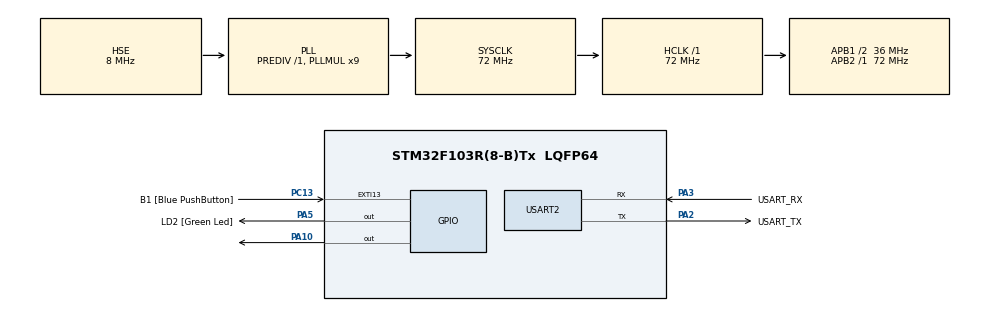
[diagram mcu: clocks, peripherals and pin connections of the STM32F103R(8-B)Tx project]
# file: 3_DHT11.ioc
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Mcu.Family=STM32F1
Mcu.Name=STM32F103R(8-B)Tx
Mcu.Package=LQFP64
NVIC.EXTI15_10_IRQn=true\:0\:0\:false\:false\:true\:true\:true
NVIC.PriorityGroup=NVIC_PRIORITYGROUP_4
PA10.PinState=GPIO_PIN_SET
PA10.Signal=GPIO_Output
PA13.GPIO_Label=TMS
PA13.Mode=Serial_Wire
PA13.Signal=SYS_JTMS-SWDIO
PA14.GPIO_Label=TCK
PA14.Mode=Serial_Wire
PA14.Signal=SYS_JTCK-SWCLK
PA2.GPIO_Label=USART_TX
PA2.GPIO_Mode=GPIO_MODE_AF_PP
PA2.GPIO_PuPd=GPIO_NOPULL
PA2.GPIO_Speed=GPIO_SPEED_FREQ_LOW
PA2.Mode=Asynchronous
PA2.Signal=USART2_TX
PA3.GPIO_Label=USART_RX
PA3.GPIO_Mode=GPIO_MODE_AF_PP
PA3.GPIO_PuPd=GPIO_NOPULL
PA3.GPIO_Speed=GPIO_SPEED_FREQ_LOW
PA3.Mode=Asynchronous
PA3.Signal=USART2_RX
PA5.GPIO_Label=LD2 [Green Led]
PA5.GPIO_ModeDefaultOutputPP=GPIO_MODE_OUTPUT_PP
PA5.GPIO_PuPd=GPIO_NOPULL
PA5.GPIO_Speed=GPIO_SPEED_FREQ_LOW
PA5.Signal=GPIO_Output
PB3.GPIO_Label=SWO
PB3.Signal=SYS_JTDO-TRACESWO
PC13-TAMPER-RTC.GPIO_Label=B1 [Blue PushButton]
PC13-TAMPER-RTC.GPIO_PuPd=GPIO_NOPULL
PC13-TAMPER-RTC.Signal=GPXTI13
PC14-OSC32_IN.Mode=LSE-External-Oscillator
PC14-OSC32_IN.Signal=RCC_OSC32_IN
PC15-OSC32_OUT.Mode=LSE-External-Oscillator
PC15-OSC32_OUT.Signal=RCC_OSC32_OUT
PD0-OSC_IN.Mode=HSE-External-Clock-Source
PD0-OSC_IN.Signal=RCC_OSC_IN
PD1-OSC_OUT.Mode=HSE-External-Clock-Source
PD1-OSC_OUT.Signal=RCC_OSC_OUT
ProjectManager.HeapSize=0x200
ProjectManager.StackSize=0x400
ProjectManager.TargetToolchain=STM32CubeIDE
RCC.AHBFreq_Value=72000000
RCC.APB1CLKDivider=RCC_HCLK_DIV2
RCC.APB1Freq_Value=36000000
RCC.APB1TimFreq_Value=72000000
RCC.APB2Freq_Value=72000000
RCC.APB2TimFreq_Value=72000000
RCC.HCLKFreq_Value=72000000
RCC.PLLMUL=RCC_PLL_MUL9
RCC.PLLSourceVirtual=RCC_PLLSOURCE_HSE
RCC.RTCClockSelection=RCC_RTCCLKSOURCE_LSE
RCC.SYSCLKFreq_VALUE=72000000
RCC.SYSCLKSource=RCC_SYSCLKSOURCE_PLLCLK
RCC.USBFreq_Value=72000000
TIM1.Period=0xffff-1
TIM1.Prescaler=72
USART2.VirtualMode=VM_ASYNC
VP_TIM1_VS_ClockSourceINT.Mode=Internal
board=NUCLEO-F103RB

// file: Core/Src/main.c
/* USER CODE BEGIN Header */
/**
  ******************************************************************************
  * @file           : main.c
  * @brief          : Main program body
  ******************************************************************************
  * @attention
  *
  * <h2><center>&copy; Copyright (c) 2021 STMicroelectronics.
  * All rights reserved.</center></h2>
  *
  * This software component is licensed by ST under BSD 3-Clause license,
  * the "License"; You may not use this file except in compliance with the
  * License. You may obtain a copy of the License at:
  *                        opensource.org/licenses/BSD-3-Clause
  *
  ******************************************************************************
  */
/* USER CODE END Header */
#include "main.h"

/* USER CODE BEGIN Includes */
#include <string.h>
#include <stdio.h>

// DHT11모듈을 연결한 디지털핀 지정 (PA10에 연결됨)
#define DHT11_PORT GPIOA
#define DHT11_PIN GPIO_PIN_10
/* USER CODE END Includes */

TIM_HandleTypeDef htim1;

UART_HandleTypeDef huart2;

void SystemClock_Config(void);
static void MX_GPIO_Init(void);
static void MX_USART2_UART_Init(void);
static void MX_TIM1_Init(void);

/* USER CODE BEGIN 0 */
//----- us단위 대기 함수
void delay_us(uint16_t time) {
	__HAL_TIM_SET_COUNTER(&htim1, 0);
	while((__HAL_TIM_GET_COUNTER(&htim1))<time);
}

//----- 펄스 대기 함수
int wait_pulse(int state) {
	__HAL_TIM_SET_COUNTER(&htim1, 0);
	while (HAL_GPIO_ReadPin(DHT11_PORT, DHT11_PIN) != state) {  // 설정한 상태로 변할 때까지 대기
		if(__HAL_TIM_GET_COUNTER(&htim1) >= 100) {              // 100us 안에 신호 들어오지 않으면 타임아웃으로 간주
			return 0;
		}
	}
	return 1;
}

// 온도, 습도 저장하는 전역변수 선언
int Temperature = 0;
int Humidity = 0;

int dht11_read (void) {
	//----- Start Signal 전송
	// 포트를 출력으로 설정
	GPIO_InitTypeDef GPIO_InitStruct = {0};
	GPIO_InitStruct.Pin = DHT11_PIN;
	GPIO_InitStruct.Mode = GPIO_MODE_OUTPUT_PP;
	GPIO_InitStruct.Speed = GPIO_SPEED_FREQ_LOW;
	HAL_GPIO_Init(DHT11_PORT, &GPIO_InitStruct);

	// Low 18ms, High 20us 펄스 생성
	HAL_GPIO_WritePin(DHT11_PORT, DHT11_PIN, 0);
	delay_us(18000);
    HAL_GPIO_WritePin(DHT11_PORT, DHT11_PIN, 1);
    delay_us(20);

	// 포트를 입력으로 설정
	GPIO_InitStruct.Mode = GPIO_MODE_INPUT;
	GPIO_InitStruct.Pull = GPIO_NOPULL;
	HAL_GPIO_Init(DHT11_PORT, &GPIO_InitStruct);

	//----- DHT11 응답 확인
	delay_us(40);  // 40us 대기
	if(!(HAL_GPIO_ReadPin(DHT11_PORT, DHT11_PIN))) {   // DHT11 응답 체크(Low)
		delay_us(80);
		if(!(HAL_GPIO_ReadPin(DHT11_PORT, DHT11_PIN))) // 80us뒤 DHT11 High 응답 없으면 timeout으로 간주
			return -1;
	}
	if(wait_pulse(GPIO_PIN_RESET) == 0) // 데이터 전송 시작 대기
		return -1; // timeout

	//----- DHT11 데이터 읽기
	uint8_t out[5], i, j;
	for(i = 0; i < 5; i++) {               // 습도 정수자리, 습도 소수자리, 온도 정수자리, 온도 소수자리, 체크섬 순으로 읽음
		for(j = 0; j < 8; j++) {           // 하나의 데이터는 8비트로 구성되며, 최상위 비트부터 하나씩 읽기 시작함
			if(!wait_pulse(GPIO_PIN_SET))  // 데이터 전송 시작까지 대기
				return -1;

			delay_us(40);  // 40us 대기 후 High상태이면 1, Low상태이면 0 수신
			if(!(HAL_GPIO_ReadPin (DHT11_PORT, DHT11_PIN)))   // Low일 경우 0
				out[i] &= ~(1<<(7-j));
			else                                              // High일 경우 1
				out[i] |= (1<<(7-j));

			if(!wait_pulse(GPIO_PIN_RESET)) // 다음 데이터 전송 시작까지 대기
				return -1;
		}
	}

	//----- 체크섬 판별
	if(out[4] != (out[0] + out[1] + out[2] + out[3]))
		return -2;

	//----- 필요 데이터 분리
	Temperature = out[2];
	Humidity = out[0];

	return 1;
}
/* USER CODE END 0 */

int main(void)
{

  /* MCU Configuration--------------------------------------------------------*/

  /* Reset of all peripherals, Initializes the Flash interface and the Systick. */
  HAL_Init();

  /* Configure the system clock */
  SystemClock_Config();

  /* Initialize all configured peripherals */
  MX_GPIO_Init();
  MX_USART2_UART_Init();
  MX_TIM1_Init();
  /* USER CODE BEGIN 2 */
  HAL_TIM_Base_Start(&htim1);  // delay_ms() 함수를 위한 타이머 시작
  uint8_t buffer[256];         // UART 전송을 위한 데이터 버퍼 선언
  /* USER CODE END 2 */

  /* Infinite loop */
  /* USER CODE BEGIN WHILE */
  while (1)
  {
	  if(dht11_read() == 1) { // 데이터가 정상적으로 수신된 경우
		  sprintf((char *)buffer, "%dC, %d%%\n", Temperature, Humidity);
		  HAL_UART_Transmit(&huart2, buffer, strlen((char *)buffer), 100);
	  } else {                // 타임아웃
		  sprintf((char *)buffer, "timeout\n");
		  HAL_UART_Transmit(&huart2, buffer, strlen((char *)buffer), 100);
	  }
	  HAL_Delay(3000);
    /* USER CODE END WHILE */

  }
}

void SystemClock_Config(void)
{
  RCC_OscInitTypeDef RCC_OscInitStruct = {0};
  RCC_ClkInitTypeDef RCC_ClkInitStruct = {0};

  /** Initializes the RCC Oscillators according to the specified parameters
  * in the RCC_OscInitTypeDef structure.
  */
  RCC_OscInitStruct.OscillatorType = RCC_OSCILLATORTYPE_HSE;
  RCC_OscInitStruct.HSEState = RCC_HSE_BYPASS;
  RCC_OscInitStruct.HSEPredivValue = RCC_HSE_PREDIV_DIV1;
  RCC_OscInitStruct.HSIState = RCC_HSI_ON;
  RCC_OscInitStruct.PLL.PLLState = RCC_PLL_ON;
  RCC_OscInitStruct.PLL.PLLSource = RCC_PLLSOURCE_HSE;
  RCC_OscInitStruct.PLL.PLLMUL = RCC_PLL_MUL9;
  if (HAL_RCC_OscConfig(&RCC_OscInitStruct) != HAL_OK)
  {
    Error_Handler();
  }
  /** Initializes the CPU, AHB and APB buses clocks
  */
  RCC_ClkInitStruct.ClockType = RCC_CLOCKTYPE_HCLK|RCC_CLOCKTYPE_SYSCLK
                              |RCC_CLOCKTYPE_PCLK1|RCC_CLOCKTYPE_PCLK2;
  RCC_ClkInitStruct.SYSCLKSource = RCC_SYSCLKSOURCE_PLLCLK;
  RCC_ClkInitStruct.AHBCLKDivider = RCC_SYSCLK_DIV1;
  RCC_ClkInitStruct.APB1CLKDivider = RCC_HCLK_DIV2;
  RCC_ClkInitStruct.APB2CLKDivider = RCC_HCLK_DIV1;

  if (HAL_RCC_ClockConfig(&RCC_ClkInitStruct, FLASH_LATENCY_2) != HAL_OK)
  {
    Error_Handler();
  }
}

static void MX_TIM1_Init(void)
{

  TIM_ClockConfigTypeDef sClockSourceConfig = {0};
  TIM_MasterConfigTypeDef sMasterConfig = {0};

  htim1.Instance = TIM1;
  htim1.Init.Prescaler = 72;
  htim1.Init.CounterMode = TIM_COUNTERMODE_UP;
  htim1.Init.Period = 0xffff-1;
  htim1.Init.ClockDivision = TIM_CLOCKDIVISION_DIV1;
  htim1.Init.RepetitionCounter = 0;
  htim1.Init.AutoReloadPreload = TIM_AUTORELOAD_PRELOAD_DISABLE;
  if (HAL_TIM_Base_Init(&htim1) != HAL_OK)
  {
    Error_Handler();
  }
  sClockSourceConfig.ClockSource = TIM_CLOCKSOURCE_INTERNAL;
  if (HAL_TIM_ConfigClockSource(&htim1, &sClockSourceConfig) != HAL_OK)
  {
    Error_Handler();
  }
  sMasterConfig.MasterOutputTrigger = TIM_TRGO_RESET;
  sMasterConfig.MasterSlaveMode = TIM_MASTERSLAVEMODE_DISABLE;
  if (HAL_TIMEx_MasterConfigSynchronization(&htim1, &sMasterConfig) != HAL_OK)
  {
    Error_Handler();
  }

}

static void MX_USART2_UART_Init(void)
{

  huart2.Instance = USART2;
  huart2.Init.BaudRate = 115200;
  huart2.Init.WordLength = UART_WORDLENGTH_8B;
  huart2.Init.StopBits = UART_STOPBITS_1;
  huart2.Init.Parity = UART_PARITY_NONE;
  huart2.Init.Mode = UART_MODE_TX_RX;
  huart2.Init.HwFlowCtl = UART_HWCONTROL_NONE;
  huart2.Init.OverSampling = UART_OVERSAMPLING_16;
  if (HAL_UART_Init(&huart2) != HAL_OK)
  {
    Error_Handler();
  }

}

static void MX_GPIO_Init(void)
{
  GPIO_InitTypeDef GPIO_InitStruct = {0};

  /* GPIO Ports Clock Enable */
  __HAL_RCC_GPIOC_CLK_ENABLE();
  __HAL_RCC_GPIOD_CLK_ENABLE();
  __HAL_RCC_GPIOA_CLK_ENABLE();
  __HAL_RCC_GPIOB_CLK_ENABLE();

  /*Configure GPIO pin Output Level */
  HAL_GPIO_WritePin(LD2_GPIO_Port, LD2_Pin, GPIO_PIN_RESET);

  /*Configure GPIO pin Output Level */
  HAL_GPIO_WritePin(GPIOA, GPIO_PIN_10, GPIO_PIN_SET);

  /*Configure GPIO pin : B1_Pin */
  GPIO_InitStruct.Pin = B1_Pin;
  GPIO_InitStruct.Mode = GPIO_MODE_IT_RISING;
  GPIO_InitStruct.Pull = GPIO_NOPULL;
  HAL_GPIO_Init(B1_GPIO_Port, &GPIO_InitStruct);

  /*Configure GPIO pins : LD2_Pin PA10 */
  GPIO_InitStruct.Pin = LD2_Pin|GPIO_PIN_10;
  GPIO_InitStruct.Mode = GPIO_MODE_OUTPUT_PP;
  GPIO_InitStruct.Pull = GPIO_NOPULL;
  GPIO_InitStruct.Speed = GPIO_SPEED_FREQ_LOW;
  HAL_GPIO_Init(GPIOA, &GPIO_InitStruct);

  /* EXTI interrupt init*/
  HAL_NVIC_SetPriority(EXTI15_10_IRQn, 0, 0);
  HAL_NVIC_EnableIRQ(EXTI15_10_IRQn);

}

void Error_Handler(void)
{
  __disable_irq();
  while (1)
  {
  }
}

/************************ (C) COPYRIGHT STMicroelectronics *****END OF FILE****/
